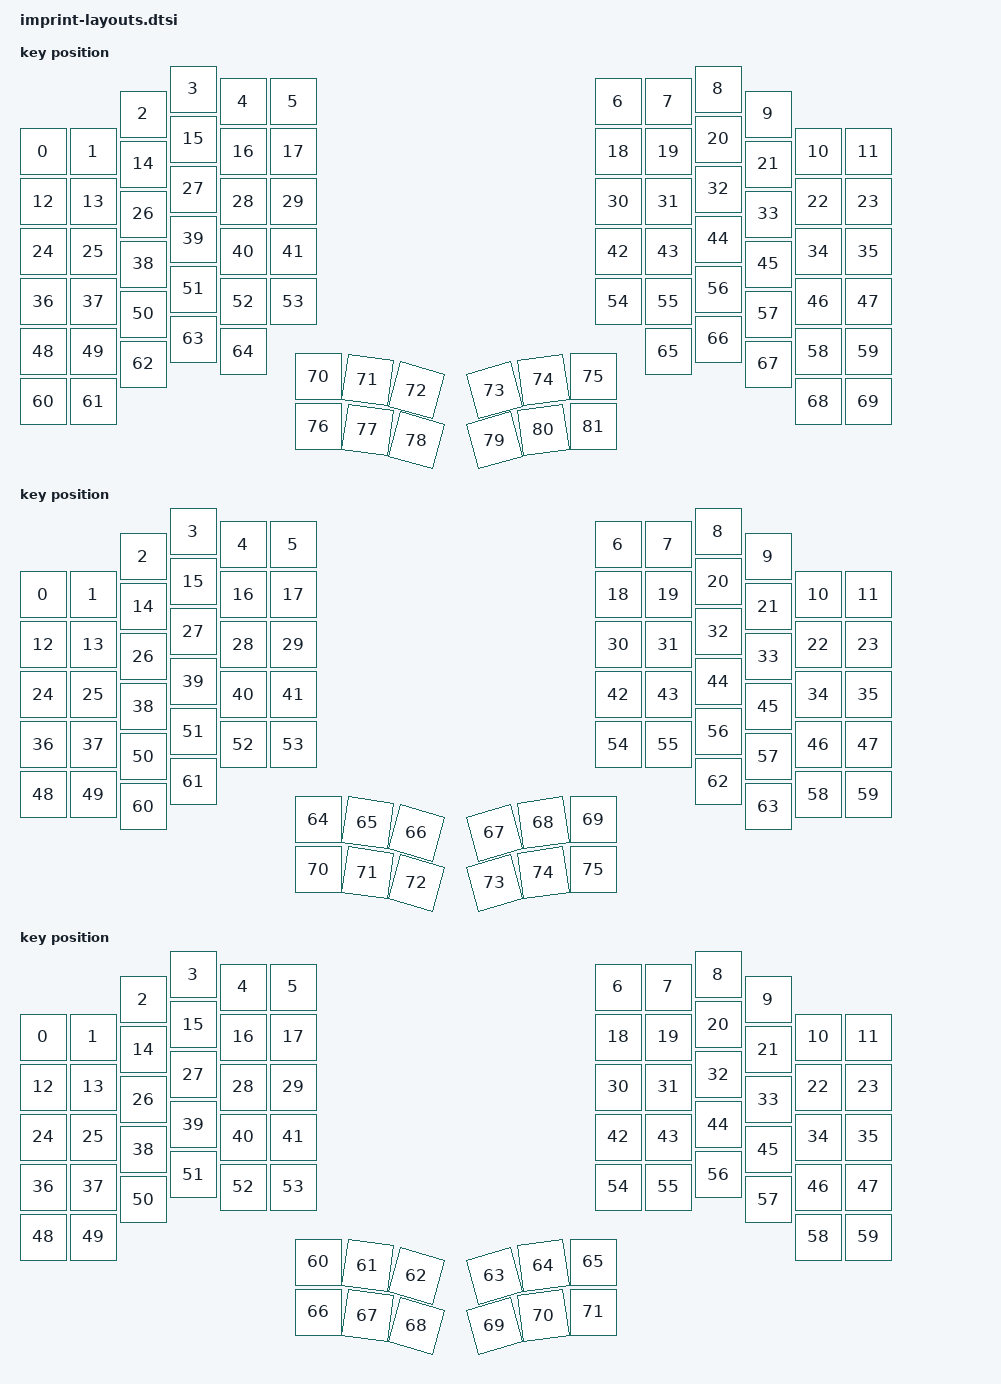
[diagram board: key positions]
#include <physical_layouts.dtsi>
/ {
    physical_layout_imprint_function_row_full_bottom_row: physical_layout_0 {
        compatible = "zmk,physical-layout";
        display-name = "Imprint Function Row (5-Key Bottom Row)";
        kscan = <&kscan0>;
        transform = <&imprint_function_row_full_bottom_row>;

        keys  //                     w   h    x    y     rot    rx    ry
            = <&key_physical_attrs 100 100    0  125       0     0     0>
            , <&key_physical_attrs 100 100  100  125       0     0     0>
            , <&key_physical_attrs 100 100  200   50       0     0     0>
            , <&key_physical_attrs 100 100  300    0       0     0     0>
            , <&key_physical_attrs 100 100  400   25       0     0     0>
            , <&key_physical_attrs 100 100  500   25       0     0     0>
            , <&key_physical_attrs 100 100 1150   25       0     0     0>
            , <&key_physical_attrs 100 100 1250   25       0     0     0>
            , <&key_physical_attrs 100 100 1350    0       0     0     0>
            , <&key_physical_attrs 100 100 1450   50       0     0     0>
            , <&key_physical_attrs 100 100 1550  125       0     0     0>
            , <&key_physical_attrs 100 100 1650  125       0     0     0>
            , <&key_physical_attrs 100 100    0  225       0     0     0>
            , <&key_physical_attrs 100 100  100  225       0     0     0>
            , <&key_physical_attrs 100 100  200  150       0     0     0>
            , <&key_physical_attrs 100 100  300  100       0     0     0>
            , <&key_physical_attrs 100 100  400  125       0     0     0>
            , <&key_physical_attrs 100 100  500  125       0     0     0>
            , <&key_physical_attrs 100 100 1150  125       0     0     0>
            , <&key_physical_attrs 100 100 1250  125       0     0     0>
            , <&key_physical_attrs 100 100 1350  100       0     0     0>
            , <&key_physical_attrs 100 100 1450  150       0     0     0>
            , <&key_physical_attrs 100 100 1550  225       0     0     0>
            , <&key_physical_attrs 100 100 1650  225       0     0     0>
            , <&key_physical_attrs 100 100    0  325       0     0     0>
            , <&key_physical_attrs 100 100  100  325       0     0     0>
            , <&key_physical_attrs 100 100  200  250       0     0     0>
            , <&key_physical_attrs 100 100  300  200       0     0     0>
            , <&key_physical_attrs 100 100  400  225       0     0     0>
            , <&key_physical_attrs 100 100  500  225       0     0     0>
            , <&key_physical_attrs 100 100 1150  225       0     0     0>
            , <&key_physical_attrs 100 100 1250  225       0     0     0>
            , <&key_physical_attrs 100 100 1350  200       0     0     0>
            , <&key_physical_attrs 100 100 1450  250       0     0     0>
            , <&key_physical_attrs 100 100 1550  325       0     0     0>
            , <&key_physical_attrs 100 100 1650  325       0     0     0>
            , <&key_physical_attrs 100 100    0  425       0     0     0>
            , <&key_physical_attrs 100 100  100  425       0     0     0>
            , <&key_physical_attrs 100 100  200  350       0     0     0>
            , <&key_physical_attrs 100 100  300  300       0     0     0>
            , <&key_physical_attrs 100 100  400  325       0     0     0>
            , <&key_physical_attrs 100 100  500  325       0     0     0>
            , <&key_physical_attrs 100 100 1150  325       0     0     0>
            , <&key_physical_attrs 100 100 1250  325       0     0     0>
            , <&key_physical_attrs 100 100 1350  300       0     0     0>
            , <&key_physical_attrs 100 100 1450  350       0     0     0>
            , <&key_physical_attrs 100 100 1550  425       0     0     0>
            , <&key_physical_attrs 100 100 1650  425       0     0     0>
            , <&key_physical_attrs 100 100    0  525       0     0     0>
            , <&key_physical_attrs 100 100  100  525       0     0     0>
            , <&key_physical_attrs 100 100  200  450       0     0     0>
            , <&key_physical_attrs 100 100  300  400       0     0     0>
            , <&key_physical_attrs 100 100  400  425       0     0     0>
            , <&key_physical_attrs 100 100  500  425       0     0     0>
            , <&key_physical_attrs 100 100 1150  425       0     0     0>
            , <&key_physical_attrs 100 100 1250  425       0     0     0>
            , <&key_physical_attrs 100 100 1350  400       0     0     0>
            , <&key_physical_attrs 100 100 1450  450       0     0     0>
            , <&key_physical_attrs 100 100 1550  525       0     0     0>
            , <&key_physical_attrs 100 100 1650  525       0     0     0>
            , <&key_physical_attrs 100 100    0  625       0     0     0>
            , <&key_physical_attrs 100 100  100  625       0     0     0>
            , <&key_physical_attrs 100 100  200  550       0     0     0>
            , <&key_physical_attrs 100 100  300  500       0     0     0>
            , <&key_physical_attrs 100 100  400  525       0     0     0>
            , <&key_physical_attrs 100 100 1250  525       0     0     0>
            , <&key_physical_attrs 100 100 1350  500       0     0     0>
            , <&key_physical_attrs 100 100 1450  550       0     0     0>
            , <&key_physical_attrs 100 100 1550  625       0     0     0>
            , <&key_physical_attrs 100 100 1650  625       0     0     0>
            , <&key_physical_attrs 100 100  550  575       0     0     0>
            , <&key_physical_attrs 100 100  550  575     800   600  1340>
            , <&key_physical_attrs 100 100  550  575    1600   600  1340>
            , <&key_physical_attrs 100 100 1100  575 (-1600)  1150  1340>
            , <&key_physical_attrs 100 100 1100  575  (-800)  1150  1340>
            , <&key_physical_attrs 100 100 1100  575       0     0     0>
            , <&key_physical_attrs 100 100  550  675       0     0     0>
            , <&key_physical_attrs 100 100  550  675     800   600  1440>
            , <&key_physical_attrs 100 100  550  675    1600   600  1440>
            , <&key_physical_attrs 100 100 1100  675 (-1600)  1150  1440>
            , <&key_physical_attrs 100 100 1100  675  (-800)  1150  1440>
            , <&key_physical_attrs 100 100 1100  675       0     0     0>
            ;
    };

    physical_layout_imprint_function_row: physical_layout_1 {
        compatible = "zmk,physical-layout";
        display-name = "Imprint Function Row (2-Key Bottom Row)";
        kscan = <&kscan0>;
        transform = <&imprint_function_row>;

        keys  //                     w   h    x    y     rot    rx    ry
            = <&key_physical_attrs 100 100    0  125       0     0     0>
            , <&key_physical_attrs 100 100  100  125       0     0     0>
            , <&key_physical_attrs 100 100  200   50       0     0     0>
            , <&key_physical_attrs 100 100  300    0       0     0     0>
            , <&key_physical_attrs 100 100  400   25       0     0     0>
            , <&key_physical_attrs 100 100  500   25       0     0     0>
            , <&key_physical_attrs 100 100 1150   25       0     0     0>
            , <&key_physical_attrs 100 100 1250   25       0     0     0>
            , <&key_physical_attrs 100 100 1350    0       0     0     0>
            , <&key_physical_attrs 100 100 1450   50       0     0     0>
            , <&key_physical_attrs 100 100 1550  125       0     0     0>
            , <&key_physical_attrs 100 100 1650  125       0     0     0>
            , <&key_physical_attrs 100 100    0  225       0     0     0>
            , <&key_physical_attrs 100 100  100  225       0     0     0>
            , <&key_physical_attrs 100 100  200  150       0     0     0>
            , <&key_physical_attrs 100 100  300  100       0     0     0>
            , <&key_physical_attrs 100 100  400  125       0     0     0>
            , <&key_physical_attrs 100 100  500  125       0     0     0>
            , <&key_physical_attrs 100 100 1150  125       0     0     0>
            , <&key_physical_attrs 100 100 1250  125       0     0     0>
            , <&key_physical_attrs 100 100 1350  100       0     0     0>
            , <&key_physical_attrs 100 100 1450  150       0     0     0>
            , <&key_physical_attrs 100 100 1550  225       0     0     0>
            , <&key_physical_attrs 100 100 1650  225       0     0     0>
            , <&key_physical_attrs 100 100    0  325       0     0     0>
            , <&key_physical_attrs 100 100  100  325       0     0     0>
            , <&key_physical_attrs 100 100  200  250       0     0     0>
            , <&key_physical_attrs 100 100  300  200       0     0     0>
            , <&key_physical_attrs 100 100  400  225       0     0     0>
            , <&key_physical_attrs 100 100  500  225       0     0     0>
            , <&key_physical_attrs 100 100 1150  225       0     0     0>
            , <&key_physical_attrs 100 100 1250  225       0     0     0>
            , <&key_physical_attrs 100 100 1350  200       0     0     0>
            , <&key_physical_attrs 100 100 1450  250       0     0     0>
            , <&key_physical_attrs 100 100 1550  325       0     0     0>
            , <&key_physical_attrs 100 100 1650  325       0     0     0>
            , <&key_physical_attrs 100 100    0  425       0     0     0>
            , <&key_physical_attrs 100 100  100  425       0     0     0>
            , <&key_physical_attrs 100 100  200  350       0     0     0>
            , <&key_physical_attrs 100 100  300  300       0     0     0>
            , <&key_physical_attrs 100 100  400  325       0     0     0>
            , <&key_physical_attrs 100 100  500  325       0     0     0>
            , <&key_physical_attrs 100 100 1150  325       0     0     0>
            , <&key_physical_attrs 100 100 1250  325       0     0     0>
            , <&key_physical_attrs 100 100 1350  300       0     0     0>
            , <&key_physical_attrs 100 100 1450  350       0     0     0>
            , <&key_physical_attrs 100 100 1550  425       0     0     0>
            , <&key_physical_attrs 100 100 1650  425       0     0     0>
            , <&key_physical_attrs 100 100    0  525       0     0     0>
            , <&key_physical_attrs 100 100  100  525       0     0     0>
            , <&key_physical_attrs 100 100  200  450       0     0     0>
            , <&key_physical_attrs 100 100  300  400       0     0     0>
            , <&key_physical_attrs 100 100  400  425       0     0     0>
            , <&key_physical_attrs 100 100  500  425       0     0     0>
            , <&key_physical_attrs 100 100 1150  425       0     0     0>
            , <&key_physical_attrs 100 100 1250  425       0     0     0>
            , <&key_physical_attrs 100 100 1350  400       0     0     0>
            , <&key_physical_attrs 100 100 1450  450       0     0     0>
            , <&key_physical_attrs 100 100 1550  525       0     0     0>
            , <&key_physical_attrs 100 100 1650  525       0     0     0>
            , <&key_physical_attrs 100 100  200  550       0     0     0>
            , <&key_physical_attrs 100 100  300  500       0     0     0>
            , <&key_physical_attrs 100 100 1350  500       0     0     0>
            , <&key_physical_attrs 100 100 1450  550       0     0     0>
            , <&key_physical_attrs 100 100  550  575       0     0     0>
            , <&key_physical_attrs 100 100  550  575     800   600  1340>
            , <&key_physical_attrs 100 100  550  575    1600   600  1340>
            , <&key_physical_attrs 100 100 1100  575 (-1600)  1150  1340>
            , <&key_physical_attrs 100 100 1100  575  (-800)  1150  1340>
            , <&key_physical_attrs 100 100 1100  575       0     0     0>
            , <&key_physical_attrs 100 100  550  675       0     0     0>
            , <&key_physical_attrs 100 100  550  675     800   600  1440>
            , <&key_physical_attrs 100 100  550  675    1600   600  1440>
            , <&key_physical_attrs 100 100 1100  675 (-1600)  1150  1440>
            , <&key_physical_attrs 100 100 1100  675  (-800)  1150  1440>
            , <&key_physical_attrs 100 100 1100  675       0     0     0>
            ;
    };

    physical_layout_imprint_function_row_no_bottom_row: physical_layout_2 {
        compatible = "zmk,physical-layout";
        display-name = "Imprint Function Row (No Bottom Row)";
        kscan = <&kscan0>;
        transform = <&imprint_function_row_no_bottom_row>;

        keys  //                     w   h    x    y     rot    rx    ry
            = <&key_physical_attrs 100 100    0  125       0     0     0>
            , <&key_physical_attrs 100 100  100  125       0     0     0>
            , <&key_physical_attrs 100 100  200   50       0     0     0>
            , <&key_physical_attrs 100 100  300    0       0     0     0>
            , <&key_physical_attrs 100 100  400   25       0     0     0>
            , <&key_physical_attrs 100 100  500   25       0     0     0>
            , <&key_physical_attrs 100 100 1150   25       0     0     0>
            , <&key_physical_attrs 100 100 1250   25       0     0     0>
            , <&key_physical_attrs 100 100 1350    0       0     0     0>
            , <&key_physical_attrs 100 100 1450   50       0     0     0>
            , <&key_physical_attrs 100 100 1550  125       0     0     0>
            , <&key_physical_attrs 100 100 1650  125       0     0     0>
            , <&key_physical_attrs 100 100    0  225       0     0     0>
            , <&key_physical_attrs 100 100  100  225       0     0     0>
            , <&key_physical_attrs 100 100  200  150       0     0     0>
            , <&key_physical_attrs 100 100  300  100       0     0     0>
            , <&key_physical_attrs 100 100  400  125       0     0     0>
            , <&key_physical_attrs 100 100  500  125       0     0     0>
            , <&key_physical_attrs 100 100 1150  125       0     0     0>
            , <&key_physical_attrs 100 100 1250  125       0     0     0>
            , <&key_physical_attrs 100 100 1350  100       0     0     0>
            , <&key_physical_attrs 100 100 1450  150       0     0     0>
            , <&key_physical_attrs 100 100 1550  225       0     0     0>
            , <&key_physical_attrs 100 100 1650  225       0     0     0>
            , <&key_physical_attrs 100 100    0  325       0     0     0>
            , <&key_physical_attrs 100 100  100  325       0     0     0>
            , <&key_physical_attrs 100 100  200  250       0     0     0>
            , <&key_physical_attrs 100 100  300  200       0     0     0>
            , <&key_physical_attrs 100 100  400  225       0     0     0>
            , <&key_physical_attrs 100 100  500  225       0     0     0>
            , <&key_physical_attrs 100 100 1150  225       0     0     0>
            , <&key_physical_attrs 100 100 1250  225       0     0     0>
            , <&key_physical_attrs 100 100 1350  200       0     0     0>
            , <&key_physical_attrs 100 100 1450  250       0     0     0>
            , <&key_physical_attrs 100 100 1550  325       0     0     0>
            , <&key_physical_attrs 100 100 1650  325       0     0     0>
            , <&key_physical_attrs 100 100    0  425       0     0     0>
            , <&key_physical_attrs 100 100  100  425       0     0     0>
            , <&key_physical_attrs 100 100  200  350       0     0     0>
            , <&key_physical_attrs 100 100  300  300       0     0     0>
            , <&key_physical_attrs 100 100  400  325       0     0     0>
            , <&key_physical_attrs 100 100  500  325       0     0     0>
            , <&key_physical_attrs 100 100 1150  325       0     0     0>
            , <&key_physical_attrs 100 100 1250  325       0     0     0>
            , <&key_physical_attrs 100 100 1350  300       0     0     0>
            , <&key_physical_attrs 100 100 1450  350       0     0     0>
            , <&key_physical_attrs 100 100 1550  425       0     0     0>
            , <&key_physical_attrs 100 100 1650  425       0     0     0>
            , <&key_physical_attrs 100 100    0  525       0     0     0>
            , <&key_physical_attrs 100 100  100  525       0     0     0>
            , <&key_physical_attrs 100 100  200  450       0     0     0>
            , <&key_physical_attrs 100 100  300  400       0     0     0>
            , <&key_physical_attrs 100 100  400  425       0     0     0>
            , <&key_physical_attrs 100 100  500  425       0     0     0>
            , <&key_physical_attrs 100 100 1150  425       0     0     0>
            , <&key_physical_attrs 100 100 1250  425       0     0     0>
            , <&key_physical_attrs 100 100 1350  400       0     0     0>
            , <&key_physical_attrs 100 100 1450  450       0     0     0>
            , <&key_physical_attrs 100 100 1550  525       0     0     0>
            , <&key_physical_attrs 100 100 1650  525       0     0     0>
            , <&key_physical_attrs 100 100  550  575       0     0     0>
            , <&key_physical_attrs 100 100  550  575     800   600  1340>
            , <&key_physical_attrs 100 100  550  575    1600   600  1340>
            , <&key_physical_attrs 100 100 1100  575 (-1600)  1150  1340>
            , <&key_physical_attrs 100 100 1100  575  (-800)  1150  1340>
            , <&key_physical_attrs 100 100 1100  575       0     0     0>
            , <&key_physical_attrs 100 100  550  675       0     0     0>
            , <&key_physical_attrs 100 100  550  675     800   600  1440>
            , <&key_physical_attrs 100 100  550  675    1600   600  1440>
            , <&key_physical_attrs 100 100 1100  675 (-1600)  1150  1440>
            , <&key_physical_attrs 100 100 1100  675  (-800)  1150  1440>
            , <&key_physical_attrs 100 100 1100  675       0     0     0>
            ;
    };

    physical_layout_imprint_number_row_full_bottom_row: physical_layout_3 {
        compatible = "zmk,physical-layout";
        display-name = "Imprint Number Row (5-key Bottom Row)";
        kscan = <&kscan0>;
        transform = <&imprint_number_row_full_bottom_row>;

        keys  //                     w   h    x    y     rot    rx    ry
            = <&key_physical_attrs 100 100    0  225       0     0     0>
            , <&key_physical_attrs 100 100  100  225       0     0     0>
            , <&key_physical_attrs 100 100  200  150       0     0     0>
            , <&key_physical_attrs 100 100  300  100       0     0     0>
            , <&key_physical_attrs 100 100  400  125       0     0     0>
            , <&key_physical_attrs 100 100  500  125       0     0     0>
            , <&key_physical_attrs 100 100 1150  125       0     0     0>
            , <&key_physical_attrs 100 100 1250  125       0     0     0>
            , <&key_physical_attrs 100 100 1350  100       0     0     0>
            , <&key_physical_attrs 100 100 1450  150       0     0     0>
            , <&key_physical_attrs 100 100 1550  225       0     0     0>
            , <&key_physical_attrs 100 100 1650  225       0     0     0>
            , <&key_physical_attrs 100 100    0  325       0     0     0>
            , <&key_physical_attrs 100 100  100  325       0     0     0>
            , <&key_physical_attrs 100 100  200  250       0     0     0>
            , <&key_physical_attrs 100 100  300  200       0     0     0>
            , <&key_physical_attrs 100 100  400  225       0     0     0>
            , <&key_physical_attrs 100 100  500  225       0     0     0>
            , <&key_physical_attrs 100 100 1150  225       0     0     0>
            , <&key_physical_attrs 100 100 1250  225       0     0     0>
            , <&key_physical_attrs 100 100 1350  200       0     0     0>
            , <&key_physical_attrs 100 100 1450  250       0     0     0>
            , <&key_physical_attrs 100 100 1550  325       0     0     0>
            , <&key_physical_attrs 100 100 1650  325       0     0     0>
            , <&key_physical_attrs 100 100    0  425       0     0     0>
            , <&key_physical_attrs 100 100  100  425       0     0     0>
            , <&key_physical_attrs 100 100  200  350       0     0     0>
            , <&key_physical_attrs 100 100  300  300       0     0     0>
            , <&key_physical_attrs 100 100  400  325       0     0     0>
            , <&key_physical_attrs 100 100  500  325       0     0     0>
            , <&key_physical_attrs 100 100 1150  325       0     0     0>
            , <&key_physical_attrs 100 100 1250  325       0     0     0>
            , <&key_physical_attrs 100 100 1350  300       0     0     0>
            , <&key_physical_attrs 100 100 1450  350       0     0     0>
            , <&key_physical_attrs 100 100 1550  425       0     0     0>
            , <&key_physical_attrs 100 100 1650  425       0     0     0>
            , <&key_physical_attrs 100 100    0  525       0     0     0>
            , <&key_physical_attrs 100 100  100  525       0     0     0>
            , <&key_physical_attrs 100 100  200  450       0     0     0>
            , <&key_physical_attrs 100 100  300  400       0     0     0>
            , <&key_physical_attrs 100 100  400  425       0     0     0>
            , <&key_physical_attrs 100 100  500  425       0     0     0>
            , <&key_physical_attrs 100 100 1150  425       0     0     0>
            , <&key_physical_attrs 100 100 1250  425       0     0     0>
            , <&key_physical_attrs 100 100 1350  400       0     0     0>
            , <&key_physical_attrs 100 100 1450  450       0     0     0>
            , <&key_physical_attrs 100 100 1550  525       0     0     0>
            , <&key_physical_attrs 100 100 1650  525       0     0     0>
            , <&key_physical_attrs 100 100    0  625       0     0     0>
            , <&key_physical_attrs 100 100  100  625       0     0     0>
            , <&key_physical_attrs 100 100  200  550       0     0     0>
            , <&key_physical_attrs 100 100  300  500       0     0     0>
            , <&key_physical_attrs 100 100  400  525       0     0     0>
            , <&key_physical_attrs 100 100 1250  525       0     0     0>
            , <&key_physical_attrs 100 100 1350  500       0     0     0>
            , <&key_physical_attrs 100 100 1450  550       0     0     0>
            , <&key_physical_attrs 100 100 1550  625       0     0     0>
            , <&key_physical_attrs 100 100 1650  625       0     0     0>
            , <&key_physical_attrs 100 100  550  575       0     0     0>
            , <&key_physical_attrs 100 100  550  575     800   600  1340>
            , <&key_physical_attrs 100 100  550  575    1600   600  1340>
            , <&key_physical_attrs 100 100 1100  575 (-1600)  1150  1340>
            , <&key_physical_attrs 100 100 1100  575  (-800)  1150  1340>
            , <&key_physical_attrs 100 100 1100  575       0     0     0>
            , <&key_physical_attrs 100 100  550  675       0     0     0>
            , <&key_physical_attrs 100 100  550  675     800   600  1440>
            , <&key_physical_attrs 100 100  550  675    1600   600  1440>
            , <&key_physical_attrs 100 100 1100  675 (-1600)  1150  1440>
            , <&key_physical_attrs 100 100 1100  675  (-800)  1150  1440>
            , <&key_physical_attrs 100 100 1100  675       0     0     0>
            ;
    };

    physical_layout_imprint_number_row: physical_layout_4 {
        compatible = "zmk,physical-layout";
        display-name = "Imprint Number Row (2-Key Bottom Row)";
        kscan = <&kscan0>;
        transform = <&imprint_number_row>;

        keys  //                     w   h    x    y     rot    rx    ry
            = <&key_physical_attrs 100 100    0  225       0     0     0>
            , <&key_physical_attrs 100 100  100  225       0     0     0>
            , <&key_physical_attrs 100 100  200  150       0     0     0>
            , <&key_physical_attrs 100 100  300  100       0     0     0>
            , <&key_physical_attrs 100 100  400  125       0     0     0>
            , <&key_physical_attrs 100 100  500  125       0     0     0>
            , <&key_physical_attrs 100 100 1150  125       0     0     0>
            , <&key_physical_attrs 100 100 1250  125       0     0     0>
            , <&key_physical_attrs 100 100 1350  100       0     0     0>
            , <&key_physical_attrs 100 100 1450  150       0     0     0>
            , <&key_physical_attrs 100 100 1550  225       0     0     0>
            , <&key_physical_attrs 100 100 1650  225       0     0     0>
            , <&key_physical_attrs 100 100    0  325       0     0     0>
            , <&key_physical_attrs 100 100  100  325       0     0     0>
            , <&key_physical_attrs 100 100  200  250       0     0     0>
            , <&key_physical_attrs 100 100  300  200       0     0     0>
            , <&key_physical_attrs 100 100  400  225       0     0     0>
            , <&key_physical_attrs 100 100  500  225       0     0     0>
            , <&key_physical_attrs 100 100 1150  225       0     0     0>
            , <&key_physical_attrs 100 100 1250  225       0     0     0>
            , <&key_physical_attrs 100 100 1350  200       0     0     0>
            , <&key_physical_attrs 100 100 1450  250       0     0     0>
            , <&key_physical_attrs 100 100 1550  325       0     0     0>
            , <&key_physical_attrs 100 100 1650  325       0     0     0>
            , <&key_physical_attrs 100 100    0  425       0     0     0>
            , <&key_physical_attrs 100 100  100  425       0     0     0>
            , <&key_physical_attrs 100 100  200  350       0     0     0>
            , <&key_physical_attrs 100 100  300  300       0     0     0>
            , <&key_physical_attrs 100 100  400  325       0     0     0>
            , <&key_physical_attrs 100 100  500  325       0     0     0>
            , <&key_physical_attrs 100 100 1150  325       0     0     0>
            , <&key_physical_attrs 100 100 1250  325       0     0     0>
            , <&key_physical_attrs 100 100 1350  300       0     0     0>
            , <&key_physical_attrs 100 100 1450  350       0     0     0>
            , <&key_physical_attrs 100 100 1550  425       0     0     0>
            , <&key_physical_attrs 100 100 1650  425       0     0     0>
            , <&key_physical_attrs 100 100    0  525       0     0     0>
            , <&key_physical_attrs 100 100  100  525       0     0     0>
            , <&key_physical_attrs 100 100  200  450       0     0     0>
            , <&key_physical_attrs 100 100  300  400       0     0     0>
            , <&key_physical_attrs 100 100  400  425       0     0     0>
            , <&key_physical_attrs 100 100  500  425       0     0     0>
            , <&key_physical_attrs 100 100 1150  425       0     0     0>
            , <&key_physical_attrs 100 100 1250  425       0     0     0>
            , <&key_physical_attrs 100 100 1350  400       0     0     0>
            , <&key_physical_attrs 100 100 1450  450       0     0     0>
            , <&key_physical_attrs 100 100 1550  525       0     0     0>
            , <&key_physical_attrs 100 100 1650  525       0     0     0>
            , <&key_physical_attrs 100 100  200  550       0     0     0>
            , <&key_physical_attrs 100 100  300  500       0     0     0>
            , <&key_physical_attrs 100 100 1350  500       0     0     0>
            , <&key_physical_attrs 100 100 1450  550       0     0     0>
            , <&key_physical_attrs 100 100  550  575       0     0     0>
            , <&key_physical_attrs 100 100  550  575     800   600  1340>
            , <&key_physical_attrs 100 100  550  575    1600   600  1340>
            , <&key_physical_attrs 100 100 1100  575 (-1600)  1150  1340>
            , <&key_physical_attrs 100 100 1100  575  (-800)  1150  1340>
            , <&key_physical_attrs 100 100 1100  575       0     0     0>
            , <&key_physical_attrs 100 100  550  675       0     0     0>
            , <&key_physical_attrs 100 100  550  675     800   600  1440>
            , <&key_physical_attrs 100 100  550  675    1600   600  1440>
            , <&key_physical_attrs 100 100 1100  675 (-1600)  1150  1440>
            , <&key_physical_attrs 100 100 1100  675  (-800)  1150  1440>
            , <&key_physical_attrs 100 100 1100  675       0     0     0>
            ;
    };

    physical_layout_imprint_number_row_no_bottom_row: physical_layout_5 {
        compatible = "zmk,physical-layout";
        display-name = "Imprint Number Row (No Bottom Row)";
        kscan = <&kscan0>;
        transform = <&imprint_number_row_no_bottom_row>;

        keys  //                     w   h    x    y     rot    rx    ry
            = <&key_physical_attrs 100 100    0  225       0     0     0>
            , <&key_physical_attrs 100 100  100  225       0     0     0>
            , <&key_physical_attrs 100 100  200  150       0     0     0>
            , <&key_physical_attrs 100 100  300  100       0     0     0>
            , <&key_physical_attrs 100 100  400  125       0     0     0>
            , <&key_physical_attrs 100 100  500  125       0     0     0>
            , <&key_physical_attrs 100 100 1150  125       0     0     0>
            , <&key_physical_attrs 100 100 1250  125       0     0     0>
            , <&key_physical_attrs 100 100 1350  100       0     0     0>
            , <&key_physical_attrs 100 100 1450  150       0     0     0>
            , <&key_physical_attrs 100 100 1550  225       0     0     0>
            , <&key_physical_attrs 100 100 1650  225       0     0     0>
            , <&key_physical_attrs 100 100    0  325       0     0     0>
            , <&key_physical_attrs 100 100  100  325       0     0     0>
            , <&key_physical_attrs 100 100  200  250       0     0     0>
            , <&key_physical_attrs 100 100  300  200       0     0     0>
            , <&key_physical_attrs 100 100  400  225       0     0     0>
            , <&key_physical_attrs 100 100  500  225       0     0     0>
            , <&key_physical_attrs 100 100 1150  225       0     0     0>
            , <&key_physical_attrs 100 100 1250  225       0     0     0>
            , <&key_physical_attrs 100 100 1350  200       0     0     0>
            , <&key_physical_attrs 100 100 1450  250       0     0     0>
            , <&key_physical_attrs 100 100 1550  325       0     0     0>
            , <&key_physical_attrs 100 100 1650  325       0     0     0>
            , <&key_physical_attrs 100 100    0  425       0     0     0>
            , <&key_physical_attrs 100 100  100  425       0     0     0>
            , <&key_physical_attrs 100 100  200  350       0     0     0>
            , <&key_physical_attrs 100 100  300  300       0     0     0>
            , <&key_physical_attrs 100 100  400  325       0     0     0>
            , <&key_physical_attrs 100 100  500  325       0     0     0>
            , <&key_physical_attrs 100 100 1150  325       0     0     0>
            , <&key_physical_attrs 100 100 1250  325       0     0     0>
            , <&key_physical_attrs 100 100 1350  300       0     0     0>
            , <&key_physical_attrs 100 100 1450  350       0     0     0>
            , <&key_physical_attrs 100 100 1550  425       0     0     0>
            , <&key_physical_attrs 100 100 1650  425       0     0     0>
            , <&key_physical_attrs 100 100    0  525       0     0     0>
            , <&key_physical_attrs 100 100  100  525       0     0     0>
            , <&key_physical_attrs 100 100  200  450       0     0     0>
            , <&key_physical_attrs 100 100  300  400       0     0     0>
            , <&key_physical_attrs 100 100  400  425       0     0     0>
            , <&key_physical_attrs 100 100  500  425       0     0     0>
            , <&key_physical_attrs 100 100 1150  425       0     0     0>
            , <&key_physical_attrs 100 100 1250  425       0     0     0>
            , <&key_physical_attrs 100 100 1350  400       0     0     0>
            , <&key_physical_attrs 100 100 1450  450       0     0     0>
            , <&key_physical_attrs 100 100 1550  525       0     0     0>
            , <&key_physical_attrs 100 100 1650  525       0     0     0>
            , <&key_physical_attrs 100 100  550  575       0     0     0>
            , <&key_physical_attrs 100 100  550  575     800   600  1340>
            , <&key_physical_attrs 100 100  550  575    1600   600  1340>
            , <&key_physical_attrs 100 100 1100  575 (-1600)  1150  1340>
            , <&key_physical_attrs 100 100 1100  575  (-800)  1150  1340>
            , <&key_physical_attrs 100 100 1100  575       0     0     0>
            , <&key_physical_attrs 100 100  550  675       0     0     0>
            , <&key_physical_attrs 100 100  550  675     800   600  1440>
            , <&key_physical_attrs 100 100  550  675    1600   600  1440>
            , <&key_physical_attrs 100 100 1100  675 (-1600)  1150  1440>
            , <&key_physical_attrs 100 100 1100  675  (-800)  1150  1440>
            , <&key_physical_attrs 100 100 1100  675       0     0     0>
            ;
    };

    physical_layout_imprint_letters_only_full_bottom_row: physical_layout_6 {
        compatible = "zmk,physical-layout";
        display-name = "Imprint Letters Only (5-key Bottom Row)";
        kscan = <&kscan0>;
        transform = <&imprint_letters_only_full_bottom_row>;

        keys  //                     w   h    x    y     rot    rx    ry
            = <&key_physical_attrs 100 100    0  325       0     0     0>
            , <&key_physical_attrs 100 100  100  325       0     0     0>
            , <&key_physical_attrs 100 100  200  250       0     0     0>
            , <&key_physical_attrs 100 100  300  200       0     0     0>
            , <&key_physical_attrs 100 100  400  225       0     0     0>
            , <&key_physical_attrs 100 100  500  225       0     0     0>
            , <&key_physical_attrs 100 100 1150  225       0     0     0>
            , <&key_physical_attrs 100 100 1250  225       0     0     0>
            , <&key_physical_attrs 100 100 1350  200       0     0     0>
            , <&key_physical_attrs 100 100 1450  250       0     0     0>
            , <&key_physical_attrs 100 100 1550  325       0     0     0>
            , <&key_physical_attrs 100 100 1650  325       0     0     0>
            , <&key_physical_attrs 100 100    0  425       0     0     0>
            , <&key_physical_attrs 100 100  100  425       0     0     0>
            , <&key_physical_attrs 100 100  200  350       0     0     0>
            , <&key_physical_attrs 100 100  300  300       0     0     0>
            , <&key_physical_attrs 100 100  400  325       0     0     0>
            , <&key_physical_attrs 100 100  500  325       0     0     0>
            , <&key_physical_attrs 100 100 1150  325       0     0     0>
            , <&key_physical_attrs 100 100 1250  325       0     0     0>
            , <&key_physical_attrs 100 100 1350  300       0     0     0>
            , <&key_physical_attrs 100 100 1450  350       0     0     0>
            , <&key_physical_attrs 100 100 1550  425       0     0     0>
            , <&key_physical_attrs 100 100 1650  425       0     0     0>
            , <&key_physical_attrs 100 100    0  525       0     0     0>
            , <&key_physical_attrs 100 100  100  525       0     0     0>
            , <&key_physical_attrs 100 100  200  450       0     0     0>
            , <&key_physical_attrs 100 100  300  400       0     0     0>
            , <&key_physical_attrs 100 100  400  425       0     0     0>
            , <&key_physical_attrs 100 100  500  425       0     0     0>
            , <&key_physical_attrs 100 100 1150  425       0     0     0>
            , <&key_physical_attrs 100 100 1250  425       0     0     0>
            , <&key_physical_attrs 100 100 1350  400       0     0     0>
            , <&key_physical_attrs 100 100 1450  450       0     0     0>
            , <&key_physical_attrs 100 100 1550  525       0     0     0>
            , <&key_physical_attrs 100 100 1650  525       0     0     0>
            , <&key_physical_attrs 100 100    0  625       0     0     0>
            , <&key_physical_attrs 100 100  100  625       0     0     0>
            , <&key_physical_attrs 100 100  200  550       0     0     0>
            , <&key_physical_attrs 100 100  300  500       0     0     0>
            , <&key_physical_attrs 100 100  400  525       0     0     0>
            , <&key_physical_attrs 100 100 1250  525       0     0     0>
            , <&key_physical_attrs 100 100 1350  500       0     0     0>
            , <&key_physical_attrs 100 100 1450  550       0     0     0>
            , <&key_physical_attrs 100 100 1550  625       0     0     0>
            , <&key_physical_attrs 100 100 1650  625       0     0     0>
            , <&key_physical_attrs 100 100  550  575       0     0     0>
            , <&key_physical_attrs 100 100  550  575     800   600  1340>
            , <&key_physical_attrs 100 100  550  575    1600   600  1340>
            , <&key_physical_attrs 100 100 1100  575 (-1600)  1150  1340>
            , <&key_physical_attrs 100 100 1100  575  (-800)  1150  1340>
            , <&key_physical_attrs 100 100 1100  575       0     0     0>
            , <&key_physical_attrs 100 100  550  675       0     0     0>
            , <&key_physical_attrs 100 100  550  675     800   600  1440>
            , <&key_physical_attrs 100 100  550  675    1600   600  1440>
            , <&key_physical_attrs 100 100 1100  675 (-1600)  1150  1440>
            , <&key_physical_attrs 100 100 1100  675  (-800)  1150  1440>
            , <&key_physical_attrs 100 100 1100  675       0     0     0>
            ;
    };

    physical_layout_imprint_letters_only: physical_layout_7 {
        compatible = "zmk,physical-layout";
        display-name = "Imprint Letters Only (2-Key Bottom Row)";
        kscan = <&kscan0>;
        transform = <&imprint_letters_only>;

        keys  //                     w   h    x    y     rot    rx    ry
            = <&key_physical_attrs 100 100    0  325       0     0     0>
            , <&key_physical_attrs 100 100  100  325       0     0     0>
            , <&key_physical_attrs 100 100  200  250       0     0     0>
            , <&key_physical_attrs 100 100  300  200       0     0     0>
            , <&key_physical_attrs 100 100  400  225       0     0     0>
            , <&key_physical_attrs 100 100  500  225       0     0     0>
            , <&key_physical_attrs 100 100 1150  225       0     0     0>
            , <&key_physical_attrs 100 100 1250  225       0     0     0>
            , <&key_physical_attrs 100 100 1350  200       0     0     0>
            , <&key_physical_attrs 100 100 1450  250       0     0     0>
            , <&key_physical_attrs 100 100 1550  325       0     0     0>
            , <&key_physical_attrs 100 100 1650  325       0     0     0>
            , <&key_physical_attrs 100 100    0  425       0     0     0>
            , <&key_physical_attrs 100 100  100  425       0     0     0>
            , <&key_physical_attrs 100 100  200  350       0     0     0>
            , <&key_physical_attrs 100 100  300  300       0     0     0>
            , <&key_physical_attrs 100 100  400  325       0     0     0>
            , <&key_physical_attrs 100 100  500  325       0     0     0>
            , <&key_physical_attrs 100 100 1150  325       0     0     0>
            , <&key_physical_attrs 100 100 1250  325       0     0     0>
            , <&key_physical_attrs 100 100 1350  300       0     0     0>
            , <&key_physical_attrs 100 100 1450  350       0     0     0>
            , <&key_physical_attrs 100 100 1550  425       0     0     0>
            , <&key_physical_attrs 100 100 1650  425       0     0     0>
            , <&key_physical_attrs 100 100    0  525       0     0     0>
            , <&key_physical_attrs 100 100  100  525       0     0     0>
            , <&key_physical_attrs 100 100  200  450       0     0     0>
            , <&key_physical_attrs 100 100  300  400       0     0     0>
            , <&key_physical_attrs 100 100  400  425       0     0     0>
            , <&key_physical_attrs 100 100  500  425       0     0     0>
            , <&key_physical_attrs 100 100 1150  425       0     0     0>
            , <&key_physical_attrs 100 100 1250  425       0     0     0>
            , <&key_physical_attrs 100 100 1350  400       0     0     0>
            , <&key_physical_attrs 100 100 1450  450       0     0     0>
            , <&key_physical_attrs 100 100 1550  525       0     0     0>
            , <&key_physical_attrs 100 100 1650  525       0     0     0>
            , <&key_physical_attrs 100 100  200  550       0     0     0>
            , <&key_physical_attrs 100 100  300  500       0     0     0>
            , <&key_physical_attrs 100 100 1350  500       0     0     0>
            , <&key_physical_attrs 100 100 1450  550       0     0     0>
            , <&key_physical_attrs 100 100  550  575       0     0     0>
            , <&key_physical_attrs 100 100  550  575     800   600  1340>
            , <&key_physical_attrs 100 100  550  575    1600   600  1340>
            , <&key_physical_attrs 100 100 1100  575 (-1600)  1150  1340>
            , <&key_physical_attrs 100 100 1100  575  (-800)  1150  1340>
            , <&key_physical_attrs 100 100 1100  575       0     0     0>
            , <&key_physical_attrs 100 100  550  675       0     0     0>
            , <&key_physical_attrs 100 100  550  675     800   600  1440>
            , <&key_physical_attrs 100 100  550  675    1600   600  1440>
            , <&key_physical_attrs 100 100 1100  675 (-1600)  1150  1440>
            , <&key_physical_attrs 100 100 1100  675  (-800)  1150  1440>
            , <&key_physical_attrs 100 100 1100  675       0     0     0>
            ;
    };

    physical_layout_imprint_letters_only_no_bottom_row: physical_layout_8 {
        compatible = "zmk,physical-layout";
        display-name = "Imprint Letters Only (No Bottom Row)";
        kscan = <&kscan0>;
        transform = <&imprint_letters_only_no_bottom_row>;

        keys  //                     w   h    x    y     rot    rx    ry
            = <&key_physical_attrs 100 100    0  325       0     0     0>
            , <&key_physical_attrs 100 100  100  325       0     0     0>
            , <&key_physical_attrs 100 100  200  250       0     0     0>
            , <&key_physical_attrs 100 100  300  200       0     0     0>
            , <&key_physical_attrs 100 100  400  225       0     0     0>
            , <&key_physical_attrs 100 100  500  225       0     0     0>
            , <&key_physical_attrs 100 100 1150  225       0     0     0>
            , <&key_physical_attrs 100 100 1250  225       0     0     0>
            , <&key_physical_attrs 100 100 1350  200       0     0     0>
            , <&key_physical_attrs 100 100 1450  250       0     0     0>
            , <&key_physical_attrs 100 100 1550  325       0     0     0>
            , <&key_physical_attrs 100 100 1650  325       0     0     0>
            , <&key_physical_attrs 100 100    0  425       0     0     0>
            , <&key_physical_attrs 100 100  100  425       0     0     0>
            , <&key_physical_attrs 100 100  200  350       0     0     0>
            , <&key_physical_attrs 100 100  300  300       0     0     0>
            , <&key_physical_attrs 100 100  400  325       0     0     0>
            , <&key_physical_attrs 100 100  500  325       0     0     0>
            , <&key_physical_attrs 100 100 1150  325       0     0     0>
            , <&key_physical_attrs 100 100 1250  325       0     0     0>
            , <&key_physical_attrs 100 100 1350  300       0     0     0>
            , <&key_physical_attrs 100 100 1450  350       0     0     0>
            , <&key_physical_attrs 100 100 1550  425       0     0     0>
            , <&key_physical_attrs 100 100 1650  425       0     0     0>
            , <&key_physical_attrs 100 100    0  525       0     0     0>
            , <&key_physical_attrs 100 100  100  525       0     0     0>
            , <&key_physical_attrs 100 100  200  450       0     0     0>
            , <&key_physical_attrs 100 100  300  400       0     0     0>
            , <&key_physical_attrs 100 100  400  425       0     0     0>
            , <&key_physical_attrs 100 100  500  425       0     0     0>
            , <&key_physical_attrs 100 100 1150  425       0     0     0>
            , <&key_physical_attrs 100 100 1250  425       0     0     0>
            , <&key_physical_attrs 100 100 1350  400       0     0     0>
            , <&key_physical_attrs 100 100 1450  450       0     0     0>
            , <&key_physical_attrs 100 100 1550  525       0     0     0>
            , <&key_physical_attrs 100 100 1650  525       0     0     0>
            , <&key_physical_attrs 100 100  550  575       0     0     0>
            , <&key_physical_attrs 100 100  550  575     800   600  1340>
            , <&key_physical_attrs 100 100  550  575    1600   600  1340>
            , <&key_physical_attrs 100 100 1100  575 (-1600)  1150  1340>
            , <&key_physical_attrs 100 100 1100  575  (-800)  1150  1340>
            , <&key_physical_attrs 100 100 1100  575       0     0     0>
            , <&key_physical_attrs 100 100  550  675       0     0     0>
            , <&key_physical_attrs 100 100  550  675     800   600  1440>
            , <&key_physical_attrs 100 100  550  675    1600   600  1440>
            , <&key_physical_attrs 100 100 1100  675 (-1600)  1150  1440>
            , <&key_physical_attrs 100 100 1100  675  (-800)  1150  1440>
            , <&key_physical_attrs 100 100 1100  675       0     0     0>
            ;
    };

    // Explicit cross-layout mapping for the 12 thumb-cluster keys.
    //
    // The fanned thumb arcs give all three keys of an arc the same x/y — they
    // differ only in rotation. ZMK's fallback position mapping (used whenever
    // the runtime-selected layout differs from the default one) matches keys
    // across layouts by exact x/y ONLY, so without this map every thumb-arc
    // key aliases to the first key of its arc: ZMK Studio edits then read and
    // write the wrong key ("ghost" keymap updates confined to the thumb
    // clusters). The grid keys all have unique x/y and are intentionally
    // aligned across layouts, so they are left to the coordinate fallback
    // (`complete` stays off).
    //
    // The thumb keys are the last 12 entries of every layout above, in the
    // same order; each `positions` array below lists their key-position
    // indices (keys_len - 12 .. keys_len - 1). Entry N of every array refers
    // to the same physical key. If a layout gains or loses keys, update its
    // row here.
    imprint_position_map: position_map {
        compatible = "zmk,physical-layout-position-map";

        function_row_full_bottom_row {
            physical-layout = <&physical_layout_imprint_function_row_full_bottom_row>;
            positions = <70 71 72 73 74 75 76 77 78 79 80 81>;
        };

        function_row {
            physical-layout = <&physical_layout_imprint_function_row>;
            positions = <64 65 66 67 68 69 70 71 72 73 74 75>;
        };

        function_row_no_bottom_row {
            physical-layout = <&physical_layout_imprint_function_row_no_bottom_row>;
            positions = <60 61 62 63 64 65 66 67 68 69 70 71>;
        };

        number_row_full_bottom_row {
            physical-layout = <&physical_layout_imprint_number_row_full_bottom_row>;
            positions = <58 59 60 61 62 63 64 65 66 67 68 69>;
        };

        number_row {
            physical-layout = <&physical_layout_imprint_number_row>;
            positions = <52 53 54 55 56 57 58 59 60 61 62 63>;
        };

        number_row_no_bottom_row {
            physical-layout = <&physical_layout_imprint_number_row_no_bottom_row>;
            positions = <48 49 50 51 52 53 54 55 56 57 58 59>;
        };

        letters_only_full_bottom_row {
            physical-layout = <&physical_layout_imprint_letters_only_full_bottom_row>;
            positions = <46 47 48 49 50 51 52 53 54 55 56 57>;
        };

        letters_only {
            physical-layout = <&physical_layout_imprint_letters_only>;
            positions = <40 41 42 43 44 45 46 47 48 49 50 51>;
        };

        letters_only_no_bottom_row {
            physical-layout = <&physical_layout_imprint_letters_only_no_bottom_row>;
            positions = <36 37 38 39 40 41 42 43 44 45 46 47>;
        };
    };

    // Keyboard Status LED maps, one zmk,underglow-indicators node per physical
    // layout (issue zmk-private#72). The Keyboard Status behavior (&kb_status)
    // draws the map of the *selected* layout, so the lit keys track the Studio
    // cut. Both halves read the same node: every half draws its own battery
    // bar, and the central also draws the bt-profiles + usb output row. The
    // right chain is mirror-wired, so the same indices land on the mirror-image
    // keys (hardware-confirmed on the 5-key function-row cut).
    //
    // Indices are the left half's own strip, taken from each cut's vial-qmk
    // keyboards/cyboard/imprint/<layout>/info.json rgb_matrix:
    //   usb         - the output row's outer key (USB output)
    //   bt-profiles - that row's next five keys, BLE profile 0..4
    //   battery     - the row below (function/number cuts) or the home row
    //                 (letters-only cuts), pinky-side LED first
    status_ind_function_row_5key: status-ind-function-row-5key {
        compatible = "zmk,underglow-indicators";
        battery = <34 28 22 16 10 4>;
        bt-profiles = <27 21 15 9 3>;
        usb = <33>;
    };
    status_ind_function_row_2key: status-ind-function-row-2key {
        compatible = "zmk,underglow-indicators";
        battery = <31 26 21 15 9 4>;
        bt-profiles = <25 20 14 8 3>;
        usb = <30>;
    };
    status_ind_function_row_no: status-ind-function-row-no {
        compatible = "zmk,underglow-indicators";
        battery = <29 24 19 14 9 4>;
        bt-profiles = <23 18 13 8 3>;
        usb = <28>;
    };
    status_ind_number_row_5key: status-ind-number-row-5key {
        compatible = "zmk,underglow-indicators";
        battery = <28 23 18 13 8 3>;
        bt-profiles = <22 17 12 7 2>;
        usb = <27>;
    };
    status_ind_number_row_2key: status-ind-number-row-2key {
        compatible = "zmk,underglow-indicators";
        battery = <25 21 17 12 7 3>;
        bt-profiles = <20 16 11 6 2>;
        usb = <24>;
    };
    status_ind_number_row_no: status-ind-number-row-no {
        compatible = "zmk,underglow-indicators";
        battery = <23 19 15 11 7 3>;
        bt-profiles = <18 14 10 6 2>;
        usb = <22>;
    };
    status_ind_letters_only_5key: status-ind-letters-only-5key {
        compatible = "zmk,underglow-indicators";
        battery = <19 15 11 7 3 0>;
        bt-profiles = <18 14 10 6 2>;
        usb = <22>;
    };
    status_ind_letters_only_2key: status-ind-letters-only-2key {
        compatible = "zmk,underglow-indicators";
        battery = <17 14 10 6 3 0>;
        bt-profiles = <16 13 9 5 2>;
        usb = <19>;
    };
    status_ind_letters_only_no: status-ind-letters-only-no {
        compatible = "zmk,underglow-indicators";
        battery = <15 12 9 6 3 0>;
        bt-profiles = <14 11 8 5 2>;
        usb = <17>;
    };
};

// Attach each layout to its status map.
&physical_layout_imprint_function_row_full_bottom_row {
    status-indicators = <&status_ind_function_row_5key>;
};
&physical_layout_imprint_function_row {
    status-indicators = <&status_ind_function_row_2key>;
};
&physical_layout_imprint_function_row_no_bottom_row {
    status-indicators = <&status_ind_function_row_no>;
};
&physical_layout_imprint_number_row_full_bottom_row {
    status-indicators = <&status_ind_number_row_5key>;
};
&physical_layout_imprint_number_row {
    status-indicators = <&status_ind_number_row_2key>;
};
&physical_layout_imprint_number_row_no_bottom_row {
    status-indicators = <&status_ind_number_row_no>;
};
&physical_layout_imprint_letters_only_full_bottom_row {
    status-indicators = <&status_ind_letters_only_5key>;
};
&physical_layout_imprint_letters_only {
    status-indicators = <&status_ind_letters_only_2key>;
};
&physical_layout_imprint_letters_only_no_bottom_row {
    status-indicators = <&status_ind_letters_only_no>;
};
